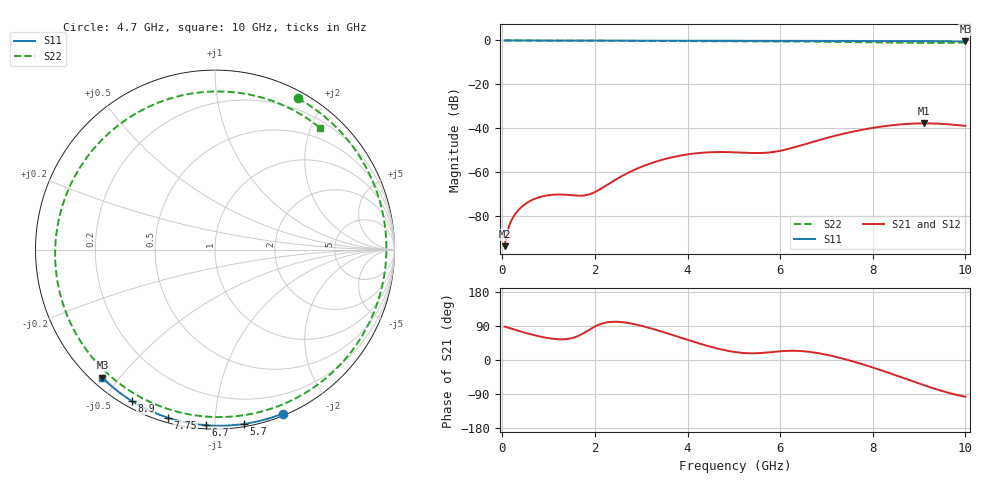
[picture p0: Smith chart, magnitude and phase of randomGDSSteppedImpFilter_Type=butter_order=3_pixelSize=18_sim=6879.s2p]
! freq	dB(S11)	phase(S11)	dB(S12)	phase(S12)
!  dB(S21)	phase(S21)	dB(S22)	phase(S22)
!S-par simulation data
#  GHz  S  DB  R 50
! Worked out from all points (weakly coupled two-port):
!   200 points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, 50 MHz to 10 GHz, reference 50 ohm
!   highest |S21| = -37.84 dB at 9.1 GHz (marker M1); lowest = -93.9 dB at 50 MHz (marker M2)
!   lowest |S11| = -0.4 dB at 10 GHz (marker M3), VSWR 39.04, Z = 1.54 - j22.6 ohm
!   |S11| at or under -10 dB: nowhere
!   |S22| runs from -1.1 to 0.0 dB; largest |S21 - S12| = 0
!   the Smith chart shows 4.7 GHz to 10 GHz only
!   S11 on the Smith chart (normalised r, x): 4.7 GHz: 0.02, -1.50; 5.7 GHz: 0.02, -1.18; 6.7 GHz: 0.02, -0.95; 7.75 GHz: 0.02, -0.76; 8.9 GHz: 0.03, -0.59; 10 GHz: 0.03, -0.45
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0.05  -0.00 -0.8  -93.89 88.2  -93.89 88.2  -0.00 -3.1
0.25  -0.00 -3.8  -80.12 80.6  -80.12 80.6  -0.02 -15.3
0.55  -0.01 -8.3  -73.89 70.0  -73.89 70.0  -0.04 -33.5
0.95  -0.02 -14.3  -70.78 58.5  -70.78 58.5  -0.07 -57.6
1.35  -0.03 -20.3  -70.39 54.9  -70.39 54.9  -0.10 -81.5
1.75  -0.03 -26.2  -70.77 70.4  -70.77 70.4  -0.13 -105.4
2.65  -0.05 -39.2  -61.13 99.0  -61.13 99.0  -0.19 -159.8
3.05  -0.06 -44.9  -57.28 88.8  -57.28 88.8  -0.22 175.0
3.4  -0.07 -49.9  -54.77 76.5  -54.77 76.5  -0.25 152.1
4.1  -0.08 -59.5  -51.71 49.4  -51.71 49.4  -0.30 104.1
4.7  -0.10 -67.5  -50.92 28.7  -50.92 28.7  -0.34 61.3
5.05  -0.11 -72.2  -51.08 20.6  -51.08 20.6  -0.36 36.4
5.7  -0.13 -80.5  -51.24 19.6  -51.24 19.6  -0.41 -8.1
6.25  -0.16 -87.4  -49.09 24.4  -49.09 24.4  -0.47 -43.4
6.7  -0.18 -93.0  -46.32 20.4  -46.32 20.4  -0.54 -70.9
7.2  -0.21 -99.0  -43.43 8.4  -43.43 8.4  -0.65 -101.1
7.75  -0.24 -105.6  -40.85 -10.2  -40.85 -10.2  -0.80 -135.4
8.35  -0.29 -112.6  -38.86 -34.1  -38.86 -34.1  -0.99 -176.7
8.9  -0.33 -118.9  -37.93 -57.7  -37.93 -57.7  -1.12 140.4
9.1  -0.35 -121.2  -37.84 -66.2  -37.84 -66.2  -1.14 123.7
9.55  -0.40 -126.3  -38.14 -83.7  -38.14 -83.7  -1.09 85.5
10  -0.45 -131.3  -38.98 -96.9  -38.98 -96.9  -0.95 49.1
